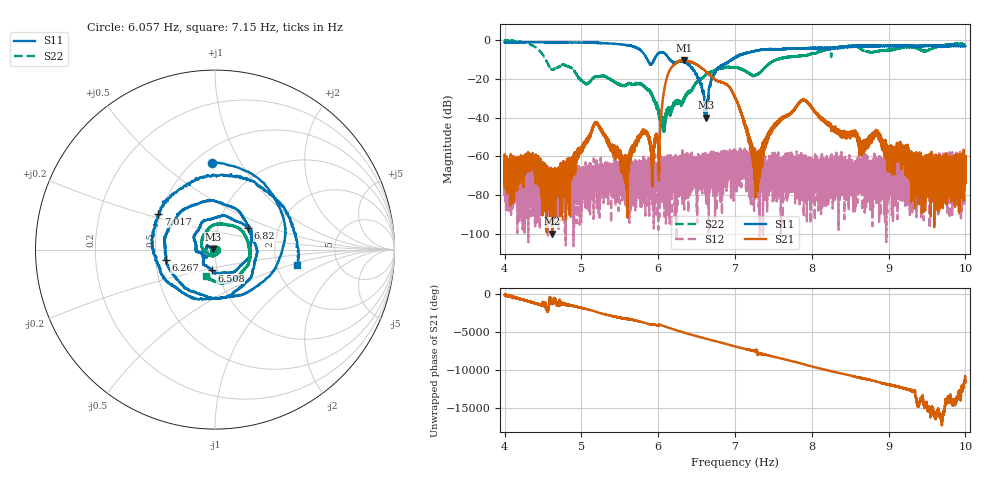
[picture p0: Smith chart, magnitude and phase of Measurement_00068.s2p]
!Created with skrf (http://scikit-rf.org).
# Hz S RI R 50.0
!freq ReS11 ImS11 ReS21 ImS21 ReS12 ImS12 ReS22 ImS22
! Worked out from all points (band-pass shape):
!   14001 points, 4 Hz to 10 Hz, reference 50 ohm
!   highest |S21| = -10.23 dB at 6.334 Hz (marker M1); lowest = -100.0 dB at 4.623 Hz (marker M2)
!   |S21| within 3 dB of the highest: 6.191529 Hz to 6.191902 Hz (373.2 uHz wide, 0.00603 % of centre); 6.192 Hz to 6.525 Hz (332.6 mHz wide, 5.23 % of centre)
!   lowest |S11| = -40.0 dB at 6.623 Hz (marker M3), VSWR 1.02, Z = 49 + j0.21 ohm
!   |S11| at or under -10 dB: 5.859 Hz to 5.949 Hz (90.27 mHz wide, 1.53 % of centre); 6.149 Hz to 6.959 Hz (809.4 mHz wide, 12.4 % of centre); 6.95967 Hz to 6.959779 Hz (108.1 uHz wide, 0.00155 % of centre)
!   |S22| runs from -47.5 to -0.2 dB; largest |S21 - S12| = 0.31
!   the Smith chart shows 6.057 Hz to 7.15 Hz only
!   S11 on the Smith chart (normalised r, x): 6.057 Hz: 0.60, +0.77; 6.267 Hz: 0.57, -0.07; 6.508 Hz: 0.94, -0.22; 6.82 Hz: 1.40, +0.35; 7.017 Hz: 0.49, +0.22; 7.15 Hz: 2.59, -0.58
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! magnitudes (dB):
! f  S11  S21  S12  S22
! 4 Hz  -1.1  -69.7  -76.7  -0.2
! 4.342 Hz  -1.0  -63.7  -80.5  -2.4
! 4.623 Hz  -1.1  -100.0  -71.1  -15.3
! 5 Hz  -1.3  -57.0  -67.2  -20.7
! 5.19 Hz  -1.4  -42.4  -68.5  -18.9
! 5.57 Hz  -2.5  -66.1  -81.4  -23.3
! 5.797 Hz  -6.2  -47.8  -63.8  -23.4
! 6 Hz  -6.9  -53.5  -71.8  -35.5
! 6.057 Hz  -6.3  -31.7  -69.4  -42.6
! 6.267 Hz  -11.0  -11.0  -71.1  -32.2
! 6.334 Hz  -11.2  -10.2  -60.9  -30.7
! 6.508 Hz  -18.6  -12.8  -68.5  -21.4
! 6.623 Hz  -40.0  -16.3  -63.5  -17.9
! 6.82 Hz  -13.1  -21.7  -76.5  -14.3
! 7 Hz  -9.0  -29.4  -62.0  -14.0
! 7.017 Hz  -8.6  -31.2  -59.8  -14.2
! 7.15 Hz  -6.7  -45.6  -62.1  -16.1
! 7.285 Hz  -5.4  -69.3  -61.7  -17.8
! 7.528 Hz  -4.7  -44.0  -64.7  -10.3
! 8 Hz  -4.4  -34.8  -67.6  -6.9
! 9 Hz  -3.1  -60.2  -65.0  -5.0
! 10 Hz  -3.1  -59.9  -63.4  -3.1
